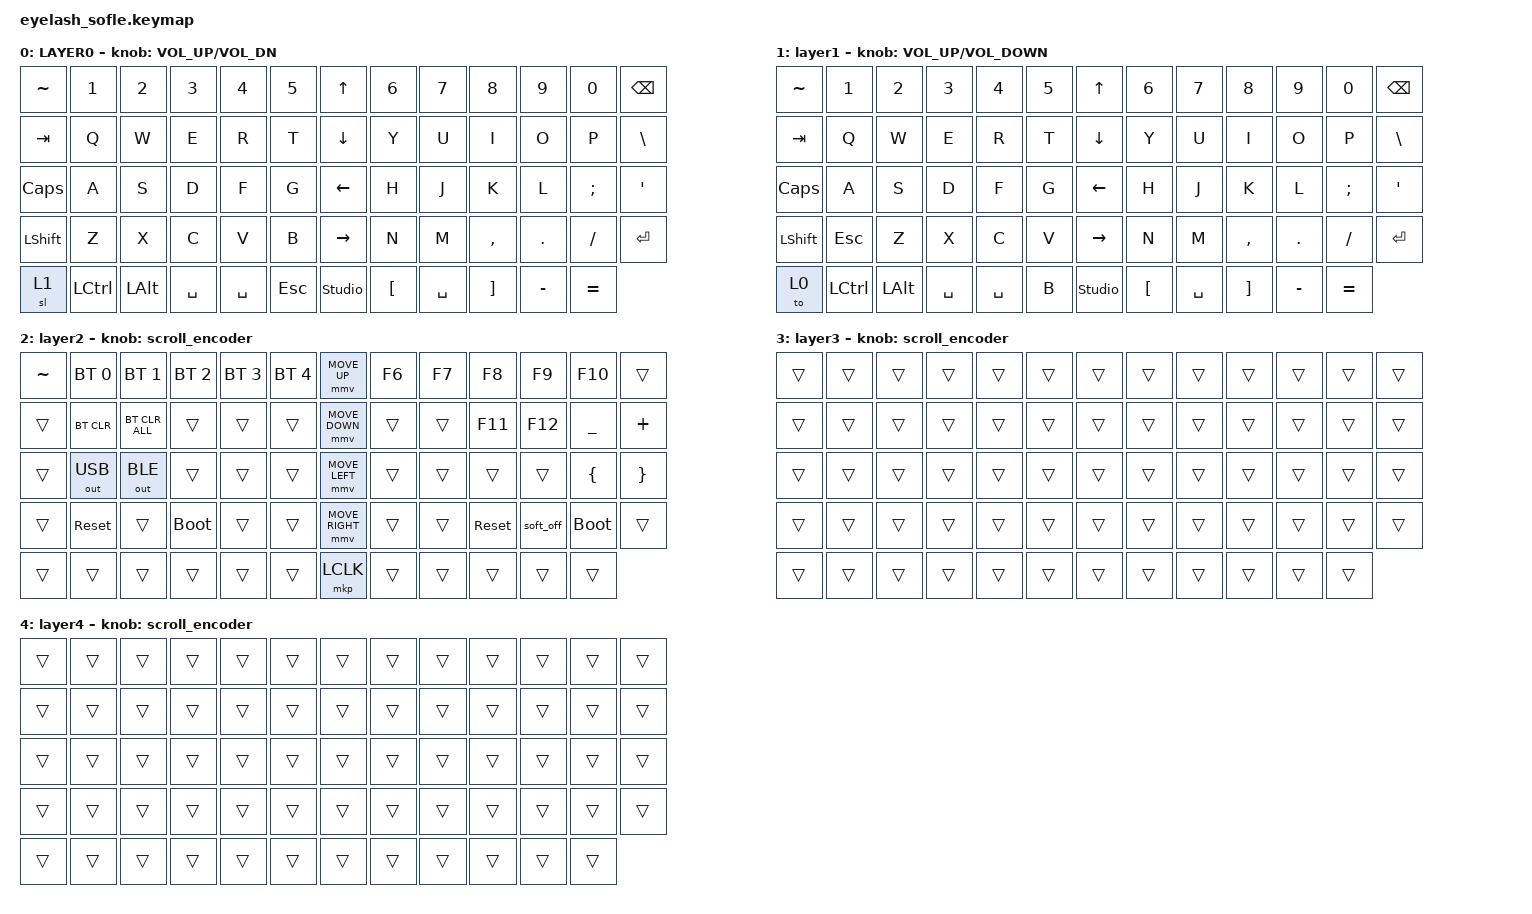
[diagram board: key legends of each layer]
#define ZMK_POINTING_DEFAULT_MOVE_VAL 1200  // 600
#define ZMK_POINTING_DEFAULT_SCRL_VAL 25   // 10

#include <input/processors.dtsi>
#include <zephyr/dt-bindings/input/input-event-codes.h>
#include <behaviors.dtsi>
#include <dt-bindings/zmk/bt.h>
#include <dt-bindings/zmk/keys.h>
#include <dt-bindings/zmk/outputs.h>
#include <dt-bindings/zmk/pointing.h>

&mmv_input_listener { input-processors = <&zip_xy_scaler 2 1>; };

&msc_input_listener { input-processors = <&zip_scroll_scaler 2 1>; };

&msc {
    acceleration-exponent = <1>;      // 0
    time-to-max-speed-ms = <100>;       // 300
    delay-ms = <0>;                   // 0
};

&mmv {
    time-to-max-speed-ms = <500>;
    acceleration-exponent = <1>;
    trigger-period-ms = <16>;
};

&soft_off { hold-time-ms = <2000>; };

/ {
    scroll_encoder: scroll_encoder {
        compatible = "zmk,behavior-sensor-rotate";
        #sensor-binding-cells = <0>;
        bindings = <&msc SCRL_DOWN>, <&msc SCRL_UP>;

        tap-ms = <100>;
    };

    behaviors {
    };

    combos {
        compatible = "zmk,combos";

        softoff {
            bindings = <&soft_off>;
            key-positions = <14 28 40>;
        };
    };

    macros {
        SHIFT_MCLK: SHIFT_MCLK {
            compatible = "zmk,behavior-macro";
            #binding-cells = <0>;
            bindings =
                <&macro_press>,
                <&kp LEFT_SHIFT>,
                <&macro_press>,
                <&mkp MB3>,
                <&macro_pause_for_release>,
                <&macro_release>,
                <&kp LEFT_SHIFT &mkp MB3>;

            label = "SHIFT_MCLK";
        };
    };

    keymap {
        compatible = "zmk,keymap";

        typing {
            bindings = <
&kp TILDE  &kp N1     &kp N2        &kp N3     &kp N4     &kp N5        &kp UP_ARROW     &kp N6            &kp N7     &kp N8             &kp N9     &kp N0     &kp BACKSPACE
&kp TAB    &kp Q      &kp W         &kp E      &kp R      &kp T         &kp DOWN_ARROW   &kp Y             &kp U      &kp I              &kp O      &kp P      &kp BSLH
&kp CAPS   &kp A      &kp S         &kp D      &kp F      &kp G         &kp LEFT_ARROW   &kp H             &kp J      &kp K              &kp L      &kp SEMI   &kp APOS
&kp LSHFT  &kp Z      &kp X         &kp C      &kp V      &kp B         &kp RIGHT_ARROW  &kp N             &kp M      &kp COMMA          &kp DOT    &kp FSLH   &kp ENTER
&sl 1      &kp LCTRL  &kp LEFT_ALT  &kp SPACE  &kp SPACE  &kp ESCAPE    &studio_unlock   &kp LEFT_BRACKET  &kp SPACE  &kp RIGHT_BRACKET  &kp MINUS  &kp EQUAL
            >;

            sensor-bindings = <&inc_dec_kp C_VOLUME_UP C_VOL_DN>;
            display-name = "LAYER0";
        };

        game {
            bindings = <
&kp TILDE       &kp NUMBER_1      &kp NUMBER_2  &kp NUMBER_3  &kp NUMBER_4  &kp N5    &kp UP_ARROW    &kp NUMBER_6      &kp N7     &kp N8             &kp N9      &kp N0         &kp BACKSPACE
&kp TAB         &kp Q             &kp W         &kp E         &kp R         &kp T     &kp DOWN_ARROW  &kp Y             &kp U      &kp I              &kp O       &kp P          &kp BACKSLASH
&kp CAPS        &kp A             &kp S         &kp D         &kp F         &kp G     &kp LEFT        &kp H             &kp J      &kp K              &kp L       &kp SEMICOLON  &kp SINGLE_QUOTE
&kp LEFT_SHIFT  &kp ESCAPE        &kp Z         &kp X         &kp C         &kp V     &kp RIGHT       &kp N             &kp M      &kp COMMA          &kp PERIOD  &kp SLASH      &kp ENTER
&to 0           &kp LEFT_CONTROL  &kp LEFT_ALT  &kp SPACE     &kp SPACE     &kp B     &studio_unlock  &kp LEFT_BRACKET  &kp SPACE  &kp RIGHT_BRACKET  &kp MINUS   &kp EQUAL
            >;

            display-name = "layer1";
            sensor-bindings = <&inc_dec_kp C_VOLUME_UP C_VOLUME_DOWN>;
        };

        layer_2 {
            bindings = <
&kp TILDE  &bt BT_SEL 0  &bt BT_SEL 1    &bt BT_SEL 2  &bt BT_SEL 3  &bt BT_SEL 4    &mmv MOVE_UP     &kp F6  &kp F7  &kp F8      &kp F9     &kp F10      &trans
&trans     &bt BT_CLR    &bt BT_CLR_ALL  &trans        &trans        &trans          &mmv MOVE_DOWN   &trans  &trans  &kp F11     &kp F12    &kp UNDER    &kp PLUS
&trans     &out OUT_USB  &out OUT_BLE    &trans        &trans        &trans          &mmv MOVE_LEFT   &trans  &trans  &trans      &trans     &kp LBRC     &kp RBRC
&trans     &sys_reset    &trans          &bootloader   &trans        &trans          &mmv MOVE_RIGHT  &trans  &trans  &sys_reset  &soft_off  &bootloader  &trans
&trans     &trans        &trans          &trans        &trans        &trans          &mkp LCLK        &trans  &trans  &trans      &trans     &trans
            >;

            display-name = "layer2";
            sensor-bindings = <&scroll_encoder>;
        };

        layer_3 {
            bindings = <
&trans  &trans  &trans  &trans  &trans  &trans    &trans  &trans  &trans  &trans  &trans  &trans  &trans
&trans  &trans  &trans  &trans  &trans  &trans    &trans  &trans  &trans  &trans  &trans  &trans  &trans
&trans  &trans  &trans  &trans  &trans  &trans    &trans  &trans  &trans  &trans  &trans  &trans  &trans
&trans  &trans  &trans  &trans  &trans  &trans    &trans  &trans  &trans  &trans  &trans  &trans  &trans
&trans  &trans  &trans  &trans  &trans  &trans    &trans  &trans  &trans  &trans  &trans  &trans
            >;

            display-name = "layer3";
            sensor-bindings = <&scroll_encoder>;
        };

        layer_4 {
            bindings = <
&trans  &trans  &trans  &trans  &trans  &trans    &trans  &trans  &trans  &trans  &trans  &trans  &trans
&trans  &trans  &trans  &trans  &trans  &trans    &trans  &trans  &trans  &trans  &trans  &trans  &trans
&trans  &trans  &trans  &trans  &trans  &trans    &trans  &trans  &trans  &trans  &trans  &trans  &trans
&trans  &trans  &trans  &trans  &trans  &trans    &trans  &trans  &trans  &trans  &trans  &trans  &trans
&trans  &trans  &trans  &trans  &trans  &trans    &trans  &trans  &trans  &trans  &trans  &trans
            >;

            display-name = "layer4";
            sensor-bindings = <&scroll_encoder>;
        };
    };
};
